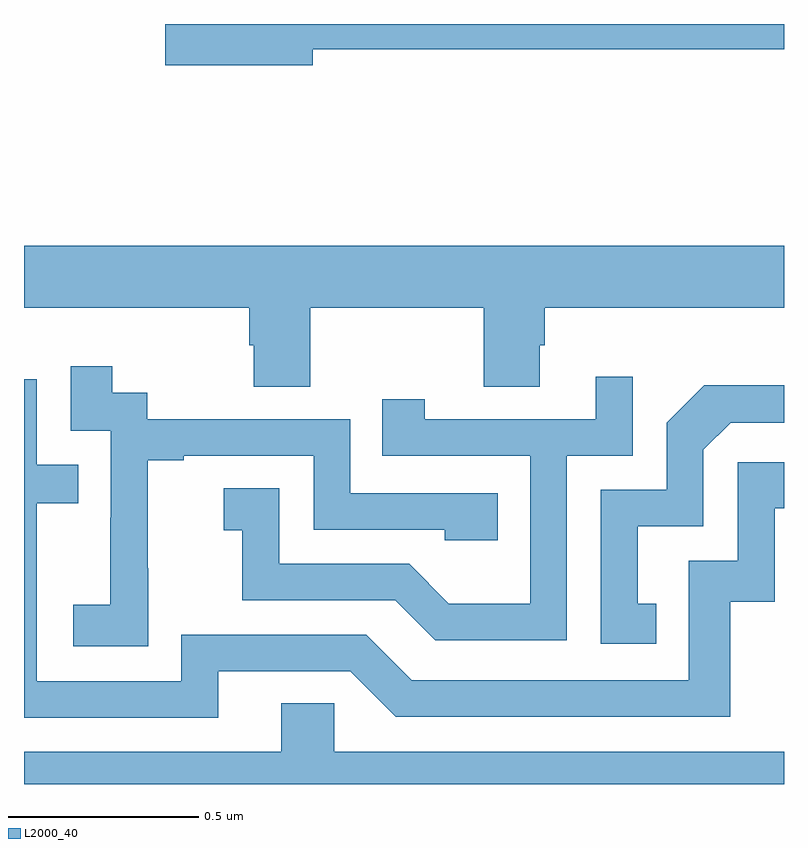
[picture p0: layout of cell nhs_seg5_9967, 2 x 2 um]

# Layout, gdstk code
import gdstk
lib = gdstk.Library(unit=1e-6, precision=1e-09)
def P(c, l, *ps):  # polygons
    for p in ps: c.add(gdstk.Polygon(p, *l))
L2000_40 = (2000, 40)

nhs_seg5_9967 = lib.new_cell('nhs_seg5_9967')
P(nhs_seg5_9967, L2000_40, [(240.76,898.732),(242,898.732),(242,898.799),(240.372,898.799),(240.372,898.69),(240.76,898.69)],
  [(240.753,898.052),(241.21,898.052),(241.21,897.844),(241.357,897.844),(241.357,897.954),(241.37,897.954),(241.37,898.052),(242,898.052),(242,898.216),(240,898.216),(240,898.052),(240.593,898.052),(240.593,897.954),(240.605,897.954),(240.605,897.844),(240.753,897.844)],
  [(240.327,897.367),(240.326,897.367),(240.326,897.651),(240.421,897.651),(240.421,897.663),(240.762,897.663),(240.762,897.468),(241.107,897.468),(241.107,897.441),(241.247,897.441),(241.247,897.564),(240.858,897.564),(240.858,897.759),(240.324,897.759),(240.324,897.828),(240.232,897.828),(240.232,897.898),(240.123,897.898),(240.123,897.729),(240.228,897.729),(240.228,897.5),(240.227,897.5),(240.227,897.271),(240.129,897.271),(240.129,897.161),(240.327,897.161)],
  [(241.428,897.663),(241.602,897.663),(241.602,897.871),(241.505,897.871),(241.505,897.759),(241.054,897.759),(241.054,897.811),(240.943,897.811),(240.943,897.663),(241.332,897.663),(241.332,897.274),(241.118,897.274),(241.014,897.378),(240.672,897.378),(240.672,897.577),(240.525,897.577),(240.525,897.467),(240.574,897.467),(240.574,897.282),(240.977,897.282),(241.082,897.177),(241.428,897.177)],
  [(240.511,897.096),(240.858,897.096),(240.978,896.976),(241.858,896.976),(241.858,897.279),(241.976,897.279),(241.976,897.525),(242,897.525),(242,897.646),(241.878,897.646),(241.878,897.387),(241.749,897.387),(241.749,897.072),(241.02,897.072),(240.9,897.192),(240.414,897.192),(240.414,897.069),(240.033,897.069),(240.033,897.538),(240.143,897.538),(240.143,897.639),(240.033,897.639),(240.033,897.864),(240,897.864),(240,896.973),(240.511,896.973)],
  [(241.664,897.273),(241.615,897.273),(241.615,897.477),(241.788,897.477),(241.788,897.678),(241.86,897.75),(242,897.75),(242,897.848),(241.79,897.848),(241.692,897.75),(241.692,897.573),(241.518,897.573),(241.518,897.168),(241.664,897.168)],
  [(242,896.884),(240.816,896.884),(240.816,897.011),(240.677,897.011),(240.677,896.884),(240,896.884),(240,896.799),(242,896.799)])

lib.write_gds('nhs_seg5_9967.gds')
